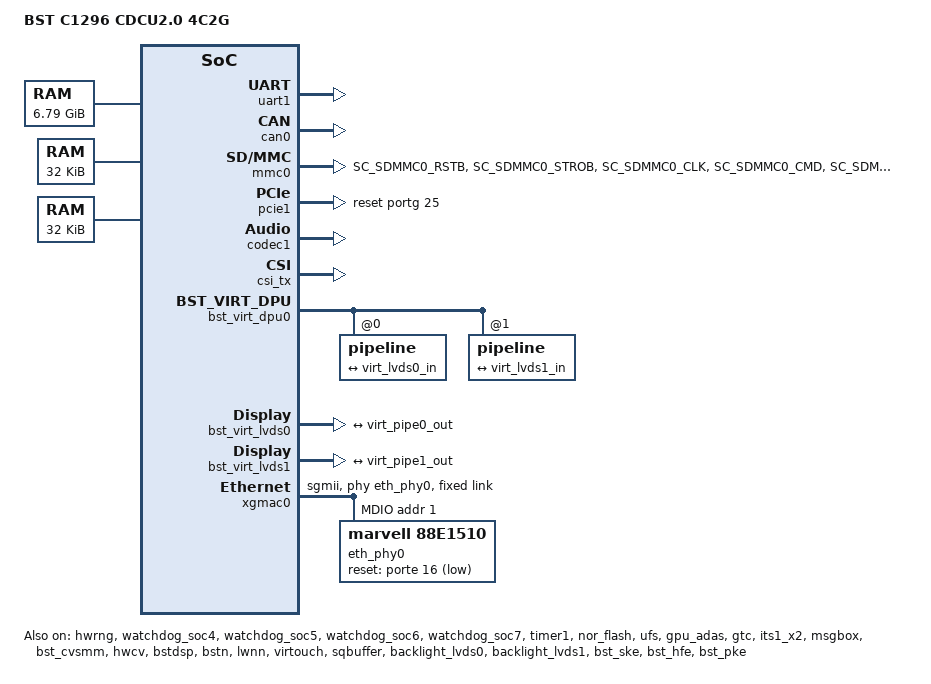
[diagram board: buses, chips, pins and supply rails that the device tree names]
// SPDX-License-Identifier: GPL-2.0+
/dts-v1/;
#include <generated/autoconf.h>
#include <dt-bindings/mailbox/bst_msgbox.h>
#include <dt-bindings/media/bst-isp.h>

#include "bstc1200.dtsi"
#include "bstc1200-soc-cluster1.dtsi"

/ {
	compatible = "bst,c1200";
	model = "BST C1296 CDCU2.0 4C2G";

	chosen {
		bootargs = "earlycon=uart8250,mmio32,0x20008000 console=ttyS0,115200n8 rdinit=/sbin/init root=/dev/ram rw init=/linuxrc rodata=n";
		stdout-path = "uart0";
	};

	memory@8c0000000 {
		device_type = "memory";
		reg = < 0x8 0x00151000 0x0 0x1000
				0x8 0x00254000 0x0 0x1000
				0x8 0x01400000 0x0 0x1000000
				0x8 0x06a10000 0x0 0x100000
				0x8 0x0e000000 0x0 0x1000000
				0x8 0x10000000 0x0 0x70000000
				0x8 0xc0000000 0x1 0x0
				0xc 0x00000000 0x0 0x800000
				0xc 0x02C00000 0x0 0x3D400000
				0xc 0x50000000 0x0 0x03000000
				0x8 0x06480000 0x0 0x00080000
			>;
	};


	
		// eMMC 48K
	memory@5170000 {
		device_type = "memory";
		reg = <0x0 0x5170000 0x0 0x8000>;
	};


	memory@5178000 {
		device_type = "memory";
		reg = <0x0 0x5178000 0x0 0x8000>;
	};



	reserved-memory {
		#address-cells = <2>;
		#size-cells = <2>;
		ranges;

		its_table_reserved: its_table@806a10000 {
			reg = <0x8 0x06a10000 0x0 0x100000>;
		};

        bst_ufs_reserved: bst_ufs@800000000 {
            compatible = "shared-dma-pool";
            reg = <0x8 0x000000 0x0 0x20000>;
            no-map;
        };

		scmi_buf_reserved: scmi_buf@800151000 {
			compatible = "shared-dma-pool";
			reg = <0x8 0x151000 0x0 0x1000>;
			no-map;
		};

		bst_nor_flash_code_reserved: bst_nor_flash@800130000 {
			compatible = "shared-dma-pool";
			reg = <0x8 0x130000 0x0 0x10000>;
			no-map;
		};

		bst_touchscreen_reserved: bst_touchscreen@806610000 {
			compatible = "shared-dma-pool";
			reg = <0x8 0x06610000 0x0 0x40000>; //1M //256k
			no-map;
		};

		bst_sramemmc0_reserved: bst_sramemmc0@5170000{
			compatible = "shared-dma-pool";
			reg = <0x0 0x5170000 0x0 0x8000>;
			no-map;
		};

		bst_sramemmc1_reserved: bst_sramemmc1@5178000{
			compatible = "shared-dma-pool";
			reg = <0x0 0x5178000 0x0 0x8000>;
			no-map;
		};

		bst_minidump_reserved: bst_minidump@94c000000 {
			compatible = "bst,minidump";
			reg = <0x9 0x4c000000 0x0 0xA00000>;
			no-map;
		};

		bst_mrdump_cb_reserved: bst_mrdump@94ca00000 {
			compatible = "bst,mrdump_cb";
			reg = <0x9 0x4ca00000 0x0 0x200000>;
			no-map;
		};

		bst_ipc_reserved: bst_ipc@800300000 {
			compatible = "shared-dma-pool";
			reg = <0x8 0x00300000 0x0 0x400000>;
 			no-map;
 		};

		bstn_fw_code_reserved: bstn@810000000 {
			compatible = "shared-dma-pool";
			reg = <0x8 0x10000000 0x0 0x2000000>;
			no-map;
		};

		bst_lwnn_fw_code_reserved: bst_lwnn@812000000 {
			compatible = "shared-dma-pool";
			reg = <0x8 0x12000000 0x0 0x8000000>;
			no-map;
		};

		/* Reserved for exchange message between driver and firmware */
		isp_fw_msg_rsv: bst_isp_msg@821000000 {
			reg = <0x8 0x21000000 0x0 0x1000000>;
			/* Reserved IOVA for fixed map */
			iommu-addresses = <&isp 0x0 0x3E000000 0x0 0x42000000>;
			no-map;
		};

		/* Reserved exclusively for firmware */
		isp_fw_buf_rsv: bst_isp_buf@822000000 {
			reg = <0x8 0x22000000 0x0 0x15000000>;
			no-map;
		};

		/*reserved for global secure dmabuf */
		global_dmabuf_secure_reserved: global_secure_dmabuf@850000000 {
			compatible = "shared-dma-pool";
			reg = <0x8 0x50000000 0x0 0x03000000
                   0xc 0x50000000 0x0 0x03000000
			>;
			no-map;
		};
		/*reserved for global normal dmabuf */
		global_dmabuf_normal_reserved: global_normal_dmabuf@837000000 {
			compatible = "shared-dma-pool";
			reg = <0x8 0x53000000 0x0 0x2d000000
				   0x8 0x37000000 0x0 0x19000000
				  >;
		};
		/*reserved for global hifi dmabuf */
		global_dmabuf_hifi_reserved: global_hifi_dmabuf@806480000 {
			compatible = "shared-dma-pool";
			reg = <0x8 0x06480000 0x0 0x00080000>;
			no-map;
		};

		bst_optee_reserved: bst_optee@801400000 {
			compatible = "shared-dma-pool";
			reg = <0x8 0x1400000 0x0 0x1000000>;
			no-map;
		};

		bst_usb_virt_reserved: usb_virt@80e000000 {
			reg = <0x8 0x0e000000 0x0 0x1000000>;
			no-map;
		};
		/* Reserved exclusively for dpu firmware */
		bst_dpu_buf_reserved: bst_dpu_buf@806920000 {
			compatible = "shared-dma-pool";
			reg = <0x8 0x06920000 0x0 0x1000>;
			no-map;
		};

		bst_hwrng_buf_reserved: bst_hwrng_buf@806d30000 {
			compatible = "shared-dma-pool";
			reg = <0x8 0x06d30000 0x0 0x1000>;
		};

		/* Reserved for crypto dmabuf */
		bst_crypto_dmabuf_reserved: bst_crypto_dmabuf@806d33000 {
			compatible = "shared-dma-pool";
			reg = <0x8 0x06d33000 0x0 0xA00000>;  //10M
			no-map;
		};
	};

	firmware {
		optee {
                compatible = "linaro,optee-tz";
                method = "smc";
                chip-number = <2>;
        };
	};

	tee {
		#address-cells = <0x2>;
		#size-cells = <0x2>;
		reg = <0x0 0x18060000 0x0 0x1f000>;
		memory-region = <&bst_optee_reserved>;
		mbox-names = "bst-mbox";
		chip-number = <2>;
	};
};


	&firmware_scmi {

		shmem = <&scmi_buf_reserved>;
		reg = <0x0 0x20011014 0 0x14>;
		status = "okay";

		scmi_voltage: protocol@17 {

			regulators {
				#address-cells = <1>;
				#size-cells = <0>;
				v_qmmc: regulator {
					reg = <0>;
					regulator-name = "voltage_qmmc";
					regulator-min-microvolt = <1800000>;
					regulator-max-microvolt = <3300000>;
					regulator-always-on;
				};
			};

		};

		scmi_pinctrl: protocol@19 {

				mmc_pinctrl:mmc_pinctrl {
				config {
					pins = "SC_SDMMC0_RSTB","SC_SDMMC0_STROB","SC_SDMMC0_CLK","SC_SDMMC0_CMD"
					,"SC_SDMMC0_DAT0","SC_SDMMC0_DAT1","SC_SDMMC0_DAT2","SC_SDMMC0_DAT3","SC_SDMMC0_DAT4","SC_SDMMC0_DAT5","SC_SDMMC0_DAT6","SC_SDMMC0_DAT7";
					drive-strength = <5>;
					bias-pull-up;
				};
			};

			mmc_pinctrl1:mmc_pinctrl1 {
				config {
					pins = "SC_SDMMC0_CLK";
					drive-strength = <6>;
					bias-pull-up;
				};
			};

			mmc_pinconfig:mmc_pinconfig {
				config {
					pins = "SC_SDMMC0_PVDD0", "SC_SDMMC0_PVDD1", "SC_SDMMC0_PVDD2";
					low-power-disable;
				};
			};


			mmc_pinconfig1:mmc_pinconfig1 {
				config {
					pins = "SC_SDMMC0_PVDD0", "SC_SDMMC0_PVDD1", "SC_SDMMC0_PVDD2";
					low-power-enable;
				};
			};

			isp_pinctrl: isp_pinctrl {
				mux {
					/* ISP FSYNC 0, 1, 2, 5, 6, 7 */
					pins = "ISP_FSYNC0", "ISP_FSYNC1", "ISP_FSYNC2", "WK_GPIO33", "WK_GPIO34","WK_GPIO35";
					function = "isp";
				};
			};
			deser_pinctrl: deser_pinctrl {
				deser_pdb_pins {
					/* Deser 0 PDB, Deser 1 PDB, Deser 2 PDB */
					pins = "WK_GPIO15", "WK_GPIO20", "WK_GPIO21";
					function = "gpio";
				};
				deser_status_pins {
					/* Deser 0 LOCK, ERR, Deser 1 LOCK, ERR, Deser 2 LOCK, ERR */
					pins = "SC_SDMMC0_WP", "SC_SDMMC1_STROBE", "SC_SDMMC1_CLK", "SC_SDMMC1_CMD", "SC_SDMMC1_DAT0", "SC_SDMMC1_DAT1";
					function = "gpio";
					bias-pull-up;
					input-enable;
				};
			};
			hpd_pinctrl:hpd_pinctrl {
				mux {
					pins = "EDP_HPD";
					function = "edp";
				};
			};
			lvds0_pinconfig:lvds0_pinconfig {
				config {
					pins = "LVDS0_ODD_TX0", "LVDS0_ODD_TX1", "LVDS0_ODD_TX2", "LVDS0_ODD_TX3", "LVDS0_ODD_CLKN";
					input-enable;
				};
			};
			lvds1_pinconfig:lvds1_pinconfig {
				config {
					pins = "LVDS0_EVEN_TX0", "LVDS0_EVEN_TX1", "LVDS0_EVEN_TX2", "LVDS0_EVEN_TX3", "LVDS0_EVEN_CLKN";
					input-enable;
				};
			};
			soc_xgmac_pinctrl:soc_xgmac_pinctrl {
				mux {
					pins = "SC_UART2_TXD", "SC_UART2_RXD";    //PAD NAME
					function = "xgmac";
				};
			};

			i2c5_pinctrl:i2c5_pinctrl {
				mux {
					pins = "SC_I2C5_SCL", "SC_I2C5_SDA";
					function = "i2c5";
				};
			};
			i2c6_pinctrl:i2c6_pinctrl {
				mux {
					pins = "SC_I2C6_SCL", "SC_I2C6_SDA";
					function = "i2c6";
				};
			};
			i2c7_pinctrl:i2c7_pinctrl {
				mux {
					pins = "SC_I2C7_SCL", "SC_I2C7_SDA";
					function = "i2c7";
				};
			};
		};
	};

&hwrng {
	status = "okay";
	memory-region = <&bst_hwrng_buf_reserved>;
	msgbx-pid = <0x14>;
};

&i2c0 {
	status = "disable";
};
&i2c1 {
	status = "disable";
};
&i2c2 {
	status = "disable";
};
&i2c3 {
	status = "disable";
};
&i2c4 {
	status = "disable";
};

&i2c5 {
	broken-runtime;
	clock-frequency = <1000000>;
	i2c-sda-falling-time-ns = <10>;
	i2c-scl-falling-time-ns = <10>;
	i2c-sda-hold-time-ns = <10>;

	pinctrl-names = "default";
	pinctrl-0 = <&i2c5_pinctrl>;
	status = "disable";
};

&i2c6 {

	broken-runtime;
	clock-frequency = <1000000>;
	pinctrl-names = "default";
	i2c-sda-falling-time-ns = <10>;
	i2c-scl-falling-time-ns = <10>;
	i2c-sda-hold-time-ns = <10>;
	pinctrl-0 = <&i2c6_pinctrl>;
	status = "disable";
};

&i2c7 {

	roken-runtime;
	clock-frequency = <1000000>;
	i2c-sda-falling-time-ns = <10>;
	i2c-scl-falling-time-ns = <10>;
	i2c-sda-hold-time-ns = <10>;
	pinctrl-names = "default";
	pinctrl-0 = <&i2c7_pinctrl>;
	status = "disable";
};

&i2cq0 {
	uid = <1>;
	ipc-sem = <1 0 12>;	// Master 1, bank 0, sem 12
	role = <ROLE_MASTER>;
};
&i2cq1 {
	uid = <1>;
	ipc-sem = <1 0 12>;	// Master 1, bank 0, sem 12
	role = <ROLE_MASTER>;
};
&i2cq2 {
	uid = <1>;
	ipc-sem = <1 0 12>;	// Master 1, bank 0, sem 12
	role = <ROLE_MASTER>;
};
&csi0 {
	uid = <1>;
	ipc-sem = <1 0 13>;	// Master 1, bank 0, sem 13
};
&csi1 {
	uid = <1>;
	ipc-sem = <1 0 13>;	// Master 1, bank 0, sem 13
};
&csi2 {
	uid = <1>;
	ipc-sem = <1 0 13>;	// Master 1, bank 0, sem 13
};
#if defined(CONFIG_VIDEO_BST_ISP_MULTI_OS)
&isp_bus {
	dma-ranges = <0x0 0xC0000000 0x8 0xDB400000 0x0 0x3E000000>,
		     <0x0 0x3E000000 0x0 0x3E000000 0x0 0x02000000>,	// Reserved to restrict IOVA area
		     <0x0 0x40000000 0x0 0x20000000 0x0 0x07000000>,	// Outer registers area
		     <0x0 0x47000000 0x0 0x30000000 0x0 0x01000000>,	// Outer registers area
		     <0x0 0x50000000 0x0 0x50000000 0x0 0x10000000>,	// ISPCV inner registers
		     <0x0 0x60000000 0x8 0x00200000 0x0 0x00600000>,	// IPC area, see bst_ipc_reserved, 2MB aligned
		     <0x0 0x60600000 0x8 0x21000000 0x0 0x16000000>;	// For isp_fw_msg_rsv, isp_fw_buf_rsv
};
#endif
&isp {
	uid = <1>;
	msgbox-cpu = <CPU_6 0 0>;
	ipc-cpu = <3>;		// ARM3
	ipc-sem = <1 0 14>;	// Master 1, bank 0, sem 14
	role = <ROLE_MASTER>;
};

&uart0 {
	status = "disable";
};
&uart1 {
		dmas = <&gdma0 53>,
			<&gdma0 52>;
	dma-names = "tx", "rx";
	status = "okay";
};
&uart2 {
	status = "disable";
};
&uart3 {
	status = "disable";
};

&spi0 {
	status = "disable";
	clocks= <&scmi_clk GATE_LSP0_SSI_M_WCLK_EN>,
		<&scmi_clk GATE_LSP0_SSI_M_PCLK_EN>;
	clock-names = "wclk", "pclk";
	resets = <&scmi_reset RST_LSP0_SSI_M_WCLK_SW>;
	reset-names = "spi";
};
&spi1 {
	status = "disable";
	clocks= <&scmi_clk GATE_LSP0_SSI_S_WCLK_EN>,
		<&scmi_clk GATE_LSP0_SSI_S_PCLK_EN>;
	clock-names = "wclk", "pclk";
	resets = <&scmi_reset RST_LSP0_SSI_S_WCLK_SW>;
	reset-names = "spi";
};
&spi2 {
	status = "disable";
	clocks= <&scmi_clk GATE_LSP1_SSI_M_WCLK_EN>,
		<&scmi_clk GATE_LSP1_SSI_M_PCLK_EN>;
	clock-names = "wclk", "pclk";
	resets = <&scmi_reset RST_LSP1_SSI_M_WCLK_SW>;
	reset-names = "spi";
};
&spi3 {
	status = "disable";
	clocks= <&scmi_clk GATE_LSP1_SSI_S_WCLK_EN>,
		<&scmi_clk GATE_LSP1_SSI_S_PCLK_EN>;
	clock-names = "wclk", "pclk";
	resets = <&scmi_reset RST_LSP1_SSI_S_WCLK_SW>;
	reset-names = "spi";
};

&i2s0 {
	status = "disable";
};
&i2s1 {
	status = "disable";
};
&i2s2 {
	status = "disable";
};
&i2s3 {
	status = "disable";
};

&tdm0 {
	status = "disable";
};
&tdm1 {
	status = "disable";
};
&tdm2 {
	status = "disable";
};
&tdm3 {
	status = "disable";
};

&watchdog0 {
	status = "disable";
};
&watchdog1 {
	status = "disable";
};
&watchdog2 {
	status = "disable";
};
&watchdog3 {
	status = "disable";
};
&watchdog_soc0 {
	status = "disable";
};
&watchdog_soc1 {
	status = "disable";
};
&watchdog_soc2 {
	status = "disable";
};
&watchdog_soc3 {
	status = "disable";
};

&watchdog_soc4 {
	status = "okay";
};
&watchdog_soc5 {
	status = "okay";
};
&watchdog_soc6 {
	status = "okay";
};
&watchdog_soc7 {
	status = "okay";
};
&watchdog_db0 {
	status = "disable";
};
&watchdog_db1 {
	status = "disable";
};
&watchdog_db2 {
	status = "disable";
};
&watchdog_db3 {
	status = "disable";
};

&lsp0_pwm0 {
	status = "disable";
};
&lsp1_pwm0 {
	status = "disable";
};

&gpio0 {
	status = "okay";
	pinctrl-names = "default";
	pinctrl-0 = <&isp_pinctrl &deser_pinctrl>;
};

&porta {
		interrupts = <GIC_SPI 253 (IRQ_TYPE_LEVEL_HIGH)>;
};

&gpio1 {
	status = "okay";
};

&portb {
		interrupts = <GIC_SPI 253 (IRQ_TYPE_LEVEL_HIGH)>;
};

&gpio2 {
	status = "okay";
};

&portc {
		interrupts = <GIC_SPI 253 (IRQ_TYPE_LEVEL_HIGH)>;
};
&gpio3 {
	status = "okay";
};

&portd {
		interrupts = <GIC_SPI 253 (IRQ_TYPE_LEVEL_HIGH)>;
};
&gpio4 {
	status = "okay";
};

&porte {
		interrupts = <GIC_SPI 253 (IRQ_TYPE_LEVEL_HIGH)>;
};
&gpio5 {
	status = "okay";
};

&portf {
		interrupts = <GIC_SPI 253 (IRQ_TYPE_LEVEL_HIGH)>;
};
&gpio6 {
	status = "okay";
};

&portg {
		interrupts = <GIC_SPI 253 (IRQ_TYPE_LEVEL_HIGH)>;
};
&gpio7 {
	status = "okay";
};

&porth {
		interrupts = <GIC_SPI 253 (IRQ_TYPE_LEVEL_HIGH)>;
};

&gpiokeys {
	status = "disable";
	//status = "okay"; //for STR SW3 WAKEUP
};

&thermal {
	status = "okay";
};

&can0 {
	status = "okay";
};

&swdma0 {
	status = "disable";
};

&gdma0 {
	status = "okay";
	dma-channels = <14>;
        snps,chan-start = <16>;
        snps,block-size = <1048576 1048576 1048576 1048576 1048576 1048576 1048576 1048576
                           1048576 1048576 1048576 1048576 1048576 1048576 >;

        snps,priority = <29 28 27 26 25 24
                        23 22 21 20 19 18 17 16>;
        interrupts =    <   GIC_SPI 401 (GIC_CPU_MASK_SIMPLE(8) | IRQ_TYPE_LEVEL_HIGH)
                            GIC_SPI 402 (GIC_CPU_MASK_SIMPLE(8) | IRQ_TYPE_LEVEL_HIGH)
                            GIC_SPI 403 (GIC_CPU_MASK_SIMPLE(8) | IRQ_TYPE_LEVEL_HIGH)
                            GIC_SPI 404 (GIC_CPU_MASK_SIMPLE(8) | IRQ_TYPE_LEVEL_HIGH)
                            GIC_SPI 405 (GIC_CPU_MASK_SIMPLE(8) | IRQ_TYPE_LEVEL_HIGH)
                            GIC_SPI 406 (GIC_CPU_MASK_SIMPLE(8) | IRQ_TYPE_LEVEL_HIGH)
                            GIC_SPI 407 (GIC_CPU_MASK_SIMPLE(8) | IRQ_TYPE_LEVEL_HIGH)
                            GIC_SPI 408 (GIC_CPU_MASK_SIMPLE(8) | IRQ_TYPE_LEVEL_HIGH)
                            GIC_SPI 409 (GIC_CPU_MASK_SIMPLE(8) | IRQ_TYPE_LEVEL_HIGH)
                            GIC_SPI 410 (GIC_CPU_MASK_SIMPLE(8) | IRQ_TYPE_LEVEL_HIGH)
                            GIC_SPI 411 (GIC_CPU_MASK_SIMPLE(8) | IRQ_TYPE_LEVEL_HIGH)
                            GIC_SPI 412 (GIC_CPU_MASK_SIMPLE(8) | IRQ_TYPE_LEVEL_HIGH)
                            GIC_SPI 413 (GIC_CPU_MASK_SIMPLE(8) | IRQ_TYPE_LEVEL_HIGH)
                            GIC_SPI 414 (GIC_CPU_MASK_SIMPLE(8) | IRQ_TYPE_LEVEL_HIGH)>;

};

&mmu600_soc{
	status = "okay";
};


&usbdwc3 {
		//iommus = <&mmu600_soc 1>;
};
&bst_usb_msg{
	msgbox-pid = "CPU_4";
};
&usbdrd_dwc3 {
	status = "disable";
};

&usbdwc2 {
		//iommus = <&mmu600_soc 2>;
};
&dwc3 {
	status = "disable";
};

&timer0 {
       status = "disable";
};

&timer1 {
    interrupts = <GIC_SPI 253 IRQ_TYPE_LEVEL_HIGH>;
    timer-chan = <0x0>;
    status = "okay";
};


&mmc0 {
	memory-region = <&bst_sramemmc0_reserved>;

	pinctrl-names = "default","sd_pvdd3-3","sd_pvdd1-8";
	pinctrl-0 = <&mmc_pinctrl &mmc_pinctrl1>;
	pinctrl-1 = <&mmc_pinconfig>;
	pinctrl-2 = <&mmc_pinconfig1>;


	status = "okay";
};

&nor_flash {
	memory-region = <&bst_nor_flash_code_reserved>;
	status = "okay";
};


&mmu600_pcie {
	status = "disable";
};
&mmu600_codec {
	status = "disable";
};

&mmu600_coreip {
	status = "okay";
};

&ufs {
    interrupts = <GIC_SPI 118 IRQ_TYPE_EDGE_RISING
					GIC_SPI 253 IRQ_TYPE_LEVEL_HIGH>; 
	ufs-timer = <0x0>;
    status = "okay";
};

&pcie_phy {
	dmc-lane = <0x1>; /* bit0: 1=2x2ports, 0=1x4ports */
	dmc-mode = <0x3>; /* (bit1 for ctl0)/(bit0 for ctl1):1=RC-mode, 0=EP-mode */
	pcie-ctl0 = <1>;  /* Controller reset */
	pcie-ctl1 = <1>;  /* Controller reset */
	pcie-ref-clk0 = <1>; /* 0=onchip_clk, 1=pad_clk*/
	pcie-ref-clk1 = <1>; /* 0=onchip_clk, 1=pad_clk, 2=repeat_clk */
};

&pcie1 {
	status = "okay";
	reset-gpio = <&portg 25 GPIO_ACTIVE_HIGH>;
	reset-gpio-active-high;
	pre-init;
};

&codec0 {
	status = "disable";
};
&codec1 {
	status = "okay";
	power-domains = <&scmi_devpd 0x1a>;
};

&mipi_dsi0 {
	status = "disable";
};
&mipi_dsi1 {
	status = "disable";
};
&mipi_csr {
	status = "disable";
};

&bst_dptx {
	status = "disable";
	pinctrl-names = "default";
	pinctrl-0 = <&hpd_pinctrl>;
};

&xrp0 {
	status = "disable";
};

&csi_tx {
	status = "okay";
};

&bst_dpu0 {
	status = "disable";
};
&bst_dpu2 {
	status = "disable";
};
&bst_dpu1 {
	status = "disable";
};

&lvds_conn {
	status = "disable";
	pinctrl-names = "default";
	pinctrl-0 = <&lvds0_pinconfig &lvds1_pinconfig>;
};

&bst_disp_fw_msgbx {
	status = "disable";
	msgbx-pid = "CPU_4";   /* "CPU_4" - "CPU_7" */
};

&bst_disp_fw_ipc {
	status = "okay";
	memory-region = <&bst_dpu_buf_reserved>;
	ipc-pid = "ARM2"; /* "ARM2"/"ARM3" */
};

&bst_virt_dpu0 {
	status = "okay";
	os-type = "ADAS";
	pipeline@0 {
		status = "okay";
		layer-num = <4>;
		port@0 {
			virt_pipe0_out: endpoint@0 {
				remote-endpoint = <&virt_lvds0_in>;
			};
		};
	};
	pipeline@1 {
		status = "okay";
		layer-num = <1>;
		port@0 {
			reg = <0>;
			virt_pipe1_out: endpoint@0 {
				remote-endpoint = <&virt_lvds1_in>;
			};
		};
	};
};

&bst_virt_lvds0 {
	status = "okay";
	backlight = <&backlight_lvds0>;
	ports {
		port@0 {
			virt_lvds0_in: endpoint@0 {
				remote-endpoint = <&virt_pipe0_out>;
			};
		};
	};
};

&bst_virt_lvds1 {
	status = "okay";
	backlight = <&backlight_lvds1>;
	ports {
		port@0 {
			virt_lvds1_in: endpoint@0 {
				remote-endpoint = <&virt_pipe1_out>;
			};
		};
	};
};

&gpu_ivi {
	status = "disable";
};

&gpu_adas {
	status = "okay";
};

&gpu_db {
	status = "disable";
};

&pinctrl {
	status = "disable";
};

&gtc {
	status = "okay";
};

&xgmac0 {
	status = "okay";
	max-speed = <1000>;
	snps,ps-speed = <1000>;
	phy-handle = <&eth_phy0>;
	extend-op = <20>;
	phy-mode = "sgmii";
	mac-mode = "gmii";
	fpe-hs = <0>;
	xpcs-addr = <0>;
	dma-coherent-pop;
	snps,tso;
	/*bypass;  //bool, set: bypass , non set : non bypass
	pinctrl-names = "default";
        pinctrl-0 = <&soc_xgmac_pinctrl>;*/
	fixed-link {
		speed = <1000>;
		full-duplex;
		pause;
	};
	mdio {
		compatible = "snps,dwmac-mdio";
		#address-cells = <1>;
		#size-cells = <0>;
		status = "okay";
		eth_phy0: eth_phy0@0 {
			compatible = "marvell,88E1510", "ethernet-phy-id0141.0DD1", "ethernet-phy-ieee802.3-c22";
			device_type = "ethernet-phy";
			max-speed = <1000>;
			reg = <0x1>;
			reset-active-low;
			reset-gpios = <&porte 16 1>; //gpio 144
			reset-assert-us = <20000>;
			reset-deassert-us = <20000>;
		};

	};
};

&vmac {
	status = "disable";
};

&gic600 {
	status = "okay";
};

&its1_x2 {
	status = "okay";
	memory-region = <&its_table_reserved>;
};

&msgbox {
	status = "okay";
	spi-irq-num = <4>;
	filter-num = <8>;
	// id = <0x0>;
	// end0 and end1 spi irq
	interrupts =    <
			GIC_PPI 2 (GIC_CPU_MASK_SIMPLE(8) | IRQ_TYPE_LEVEL_LOW)
			GIC_PPI 3 (GIC_CPU_MASK_SIMPLE(8) | IRQ_TYPE_LEVEL_LOW)
			GIC_PPI 4 (GIC_CPU_MASK_SIMPLE(8) | IRQ_TYPE_LEVEL_LOW)
			GIC_PPI 15 (GIC_CPU_MASK_SIMPLE(8) | IRQ_TYPE_LEVEL_LOW)
            GIC_SPI 560 (IRQ_TYPE_LEVEL_HIGH)
            GIC_SPI 561 (IRQ_TYPE_LEVEL_HIGH)
            GIC_SPI 562 (IRQ_TYPE_LEVEL_HIGH)
            GIC_SPI 563 (IRQ_TYPE_LEVEL_HIGH)
            GIC_SPI 564 (IRQ_TYPE_LEVEL_HIGH)
            GIC_SPI 565 (IRQ_TYPE_LEVEL_HIGH)
            GIC_SPI 566 (IRQ_TYPE_LEVEL_HIGH)
            GIC_SPI 567 (IRQ_TYPE_LEVEL_HIGH)
            GIC_SPI 568 (IRQ_TYPE_LEVEL_HIGH)
            GIC_SPI 569 (IRQ_TYPE_LEVEL_HIGH)
            GIC_SPI 570 (IRQ_TYPE_LEVEL_HIGH)
            GIC_SPI 571 (IRQ_TYPE_LEVEL_HIGH)
            GIC_SPI 572 (IRQ_TYPE_LEVEL_HIGH)
            GIC_SPI 573 (IRQ_TYPE_LEVEL_HIGH)
            GIC_SPI 574 (IRQ_TYPE_LEVEL_HIGH)
            GIC_SPI 575 (IRQ_TYPE_LEVEL_HIGH)
			>;
	#mbox-cells = <0x1>;
};

&arm_pmu {
	status = "disable";
};

&ipc {
	status = "okay";
	memory-region = <&bst_ipc_reserved>;
};
&mbox {
	status = "okay";
	memory-region = <&bst_ipc_reserved>;
};

&cv_bus {
	dma-ranges = <0x0 0xc0000000 0x8 0xdb000000 0x0 0x40000000>;
};

&bst_cvsmm {
	status = "okay";
	iommus = <&mmu600_coreip 2>;
};

&hwcv {
	status = "okay";
	use-cvsmm;
	ipc-sem = <1 0 8>; //<master_id bank_id msg_id>
};

&bstdsp {
	status = "okay";
	dma-heap-name = "reserved";
	iommu-group = <&bst_cvsmm>;
	//dma-coherent;
};
&bstnpu {
	status = "disable";
	dma-heap-name = "reserved";
	iommus = <&mmu600_coreip 1>,<&mmu600_coreip 4>;
	//dma-coherent;
};
&bstn_bus {
	/*           cpu va          net va         size          */
	dma-ranges = <0x0 0xC0000000 0x0 0xC0000000 0x0 0x40000000>;  /* msg */
};
&bstn {
	status = "okay";
	iommus = <&mmu600_coreip 1>,<&mmu600_coreip 4>;
	//dma-coherent;
};
&lwnn {
	status = "okay";
};

&virtouch {
	status = "okay";
	memory-region = <&bst_touchscreen_reserved>;
	/*
	 * client-id:
	 * 0x41444153: "ADAS"
	 * 0x49564920: "IVI "
	 * 0x44422020: "DB  "
	 */
	client-id = <0x41444153>; // as same as display client id
	/*
	 * screens-id:
	 * 0x9: screen_lvds0  adas
	 * 0xa: screen_lvds1  adas/ivi/db
	 * 0x7: screen_dsi0  ivi
	 * 0x8: screen_dsi1  ivi
	 * 0x6: screen_edp   adas/ivi
	 */
	screens-id = <0x9>, <0xa>, <0x6>;
};

&sqbuffer {
	status = "okay";
};

&backlight_lvds0 {
	client-id = <0x41444153>;
	status = "okay";
};

&backlight_lvds1 {
	client-id = <0x41444153>;
	status = "okay";
};

&bst_ske {
	status = "okay";
	memory-region = <&bst_crypto_dmabuf_reserved>;
};
&bst_hfe {
	status = "okay";
	memory-region = <&bst_crypto_dmabuf_reserved>;
};
&bst_pke {
	status = "okay";
	memory-region = <&bst_crypto_dmabuf_reserved>;
};
